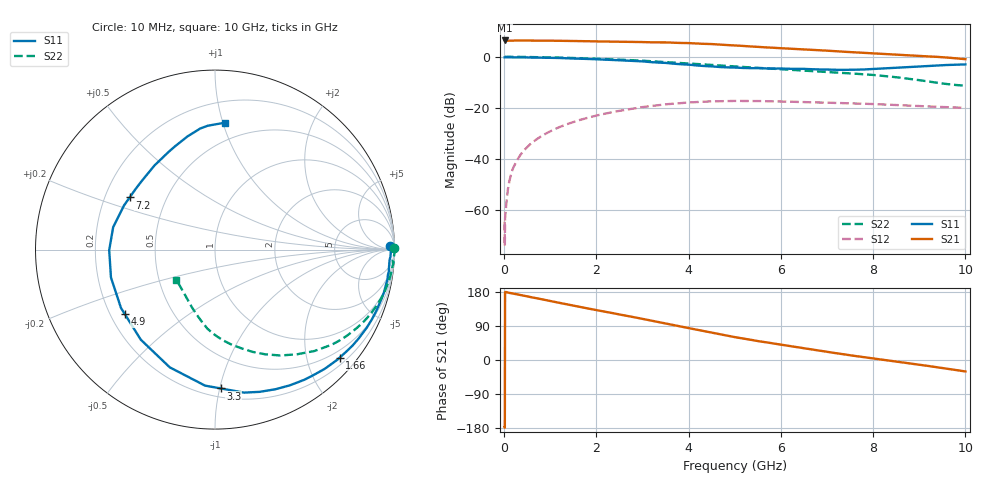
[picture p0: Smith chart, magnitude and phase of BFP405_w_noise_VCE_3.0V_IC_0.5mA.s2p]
! Infineon Technologies  Discrete & RF Semiconductors
! BFP405
! VCE =  3.0 V,  IC =  0.5 mA
! Common Emitter S-Parameters:  Jan 2016
# GHz  S  MA  R  50
!  f  S11  S21  S12  S22
! GHz  MAG  ANG  MAG  ANG  MAG  ANG  MAG  ANG
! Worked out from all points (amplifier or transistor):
!   233 points, 10 MHz to 10 GHz, reference 50 ohm
!   highest |S21| = 6.4 dB at 10 MHz (marker M1)
!   |S21| within 3 dB of that: start of sweep to 5.984 GHz
!   unconditionally stable (mu >= 1): 14.59 MHz to 15.29 MHz; 5.592 GHz to end of sweep
!   at 200 MHz: K = 0.02, MSG = 24.8 dB, |S12| = -43.2 dB
!   at 1.74 GHz: K = 0.17, MSG = 15.1 dB, |S12| = -24.2 dB
!   at 10 GHz: K = 2.40, MAG = 2.9 dB, |S12| = -19.9 dB
!   lowest NFmin = 0.78 dB at 900 MHz
!   S11 on the Smith chart (normalised r, x): 10 MHz: 51, +39; 1.66 GHz: 0.34, -2.64; 3.3 GHz: 0.26, -1.01; 4.9 GHz: 0.26, -0.30; 7.2 GHz: 0.30, +0.26; 10 GHz: 0.36, +1.02
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0.01  0.9757 1.1  2.084 -176.6  0.0006 -64.9  1 0.5
0.015  0.978 0.5  2.069 -178.6  0.0002 13.7  0.9982 0.4
0.02  0.9804 -0.1  2.057 179.4  0.0007 70.8  0.9965 0.2
0.04  0.9793 -0.8  2.054 179.3  0.0012 84.2  0.9984 -0.2
0.085  0.9785 -1.9  2.062 177.9  0.0027 87.2  0.9998 -1.0
0.185  0.9748 -4.4  2.067 175.6  0.0064 87.3  0.9977 -2.6
0.36  0.9738 -8.6  2.069 171.4  0.0124 85.7  0.9942 -4.9
0.56  0.9713 -13.4  2.071 166.4  0.0194 83.0  0.9897 -7.6
0.86  0.9614 -20.7  2.066 159.1  0.0301 78.7  0.9796 -11.8
1.66  0.9192 -40.9  2.025 139.8  0.0591 65.9  0.9378 -22.4
1.68  0.9183 -41.4  2.023 139.3  0.0598 65.5  0.9365 -22.7
2.54  0.8515 -65.0  1.963 119.2  0.0894 50.8  0.8759 -33.4
3.3  0.774 -87.7  1.911 101.3  0.1121 36.6  0.8088 -43.0
3.4  0.7657 -90.9  1.909 98.8  0.115 34.8  0.7997 -44.3
4  0.7028 -111.0  1.852 84.1  0.1283 23.7  0.7411 -51.9
4.9  0.6178 -144.3  1.685 62.8  0.1367 7.7  0.6562 -63.0
5.1  0.6091 -151.5  1.645 58.4  0.1371 4.5  0.6394 -65.3
6  0.5894 -179.7  1.473 40.4  0.134 -7.8  0.5722 -74.6
6.8  0.5668 159.7  1.345 25.3  0.1284 -16.0  0.5189 -82.9
7.2  0.5573 148.6  1.281 17.9  0.1254 -19.5  0.4932 -87.1
8.4  0.6022 115.5  1.111 -2.6  0.1151 -28.4  0.4075 -100.5
10  0.7094 85.5  0.898 -30.2  0.1007 -32.6  0.2726 -142.1
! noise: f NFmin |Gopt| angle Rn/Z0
0.9  0.78  0.8  16  0.85
1.8  1.31  0.68  35  0.8
2.4  1.61  0.59  48  0.67
3  1.86  0.58  63  0.64
4  2.16  0.46  92  0.41
5  2.4  0.46  126  0.24
